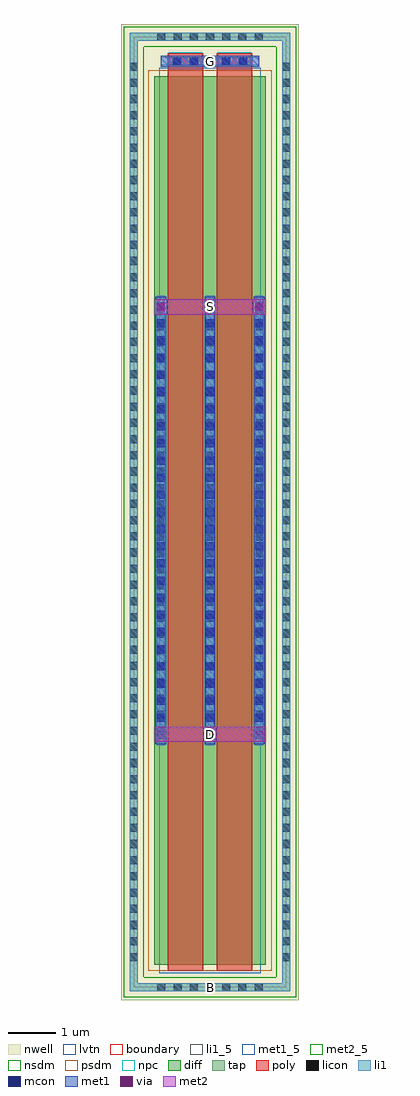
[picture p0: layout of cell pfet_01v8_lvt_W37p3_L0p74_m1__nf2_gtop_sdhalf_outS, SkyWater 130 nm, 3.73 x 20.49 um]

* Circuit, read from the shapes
.subckt pfet_01v8_lvt_W37p3_L0p74_m1__nf2_gtop_sdhalf_outS B D G S
XM1 D G S B sky130_fd_pr__pfet_01v8_lvt w=18.65 l=0.74 m=2
.ends

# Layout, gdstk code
import gdstk
lib = gdstk.Library(unit=1e-6, precision=1e-09)
def R(c, l, rs):  # rectangles x0, y0, x1, y1
    for r in rs: c.add(gdstk.rectangle(r[:2], r[2:], *l))
def A(c, l, x, y, w, h, nx, ny, dx, dy):  # array of equal rectangles
    R(c, l, [(x+i*dx, y+j*dy, x+i*dx+w, y+j*dy+h) for i in range(nx) for j in range(ny)])
nwell = (64, 20)
diff = (65, 20)
tap = (65, 44)
poly = (66, 20)
licon = (66, 44)
li1_5 = (67, 5)
li1 = (67, 20)
mcon = (67, 44)
met1_5 = (68, 5)
met1 = (68, 20)
via = (68, 44)
met2_5 = (69, 5)
met2 = (69, 20)
nsdm = (93, 44)
psdm = (94, 20)
npc = (95, 20)
lvtn = (125, 44)
boundary = (235, 4)

sky130_fd_pr__pfet_01v8_ = lib.new_cell('sky130_fd_pr__pfet_01v8_lvt_M7KZMB')
R(sky130_fd_pr__pfet_01v8_, nwell, [(-1.865,-10.245,1.865,10.245)])
R(sky130_fd_pr__pfet_01v8_, diff, [(-1.175,-9.505,1.175,9.145)])
R(sky130_fd_pr__pfet_01v8_, tap, [(-1.685,-10.065,1.685,-9.895), (-1.685,-9.895,-1.515,9.895), (1.515,-9.895,1.685,9.895), (-1.685,9.895,1.685,10.065)])
R(sky130_fd_pr__pfet_01v8_, poly, [(-0.885,-9.635,-0.145,9.63), (0.145,-9.635,0.885,9.63)])
A(sky130_fd_pr__pfet_01v8_, licon, -1.105, -10.065, 0.17, 0.17, 7, 2, 0.34, 19.96)
A(sky130_fd_pr__pfet_01v8_, licon, -1.685, -9.435, 0.17, 0.17, 1, 56, 0, 0.34)
A(sky130_fd_pr__pfet_01v8_, licon, 1.515, -9.435, 0.17, 0.17, 1, 56, 0, 0.34)
A(sky130_fd_pr__pfet_01v8_, licon, -1.115, -4.685, 0.17, 0.17, 3, 27, 1.03, 0.34)
R(sky130_fd_pr__pfet_01v8_, licon, [(-0.77,9.38,-0.6,9.55), (-0.43,9.38,-0.26,9.55), (0.26,9.38,0.43,9.55), (0.6,9.38,0.77,9.55)])
A(sky130_fd_pr__pfet_01v8_, li1, -1.115, -4.895, 0.17, 9.43, 3, 1, 1.03, 0)
R(sky130_fd_pr__pfet_01v8_, li1, [(-1.685,-10.065,1.685,-9.895), (-1.685,-9.895,-1.515,9.895), (1.515,-9.895,1.685,9.895), (-1.03,9.38,1.03,9.55), (-1.685,9.895,1.685,10.065)])
A(sky130_fd_pr__pfet_01v8_, mcon, -1.115, -4.765, 0.17, 0.17, 3, 26, 1.03, 0.36)
R(sky130_fd_pr__pfet_01v8_, mcon, [(-0.78,9.38,-0.61,9.55), (-0.42,9.38,-0.25,9.55), (0.25,9.38,0.42,9.55), (0.61,9.38,0.78,9.55)])
A(sky130_fd_pr__pfet_01v8_, met1, -1.145, -4.875, 0.23, 9.39, 3, 1, 1.03, 0)
R(sky130_fd_pr__pfet_01v8_, met1, [(-0.865,9.35,-0.165,9.38), (0.165,9.35,0.865,9.38), (-1.03,9.38,1.03,9.55), (-0.865,9.55,-0.165,9.58), (0.165,9.55,0.865,9.58)])
R(sky130_fd_pr__pfet_01v8_, nsdm, [(-1.81,-10.19,1.81,-9.77), (-1.81,-9.77,-1.39,9.77), (1.39,-9.77,1.81,9.77), (-1.81,9.77,1.81,10.19)])
R(sky130_fd_pr__pfet_01v8_, psdm, [(-1.3,-9.63,1.3,9.27)])
R(sky130_fd_pr__pfet_01v8_, npc, [(-0.87,9.28,-0.16,9.65), (0.16,9.28,0.87,9.65)])
R(sky130_fd_pr__pfet_01v8_, lvtn, [(-1.065,-9.685,1.065,9.325)])
R(sky130_fd_pr__pfet_01v8_, boundary, [(-1.6,-9.98,1.6,9.98)])
sky130_fd_pr__pfet_01v8_.add(gdstk.Label('B', (0,-9.98), layer=67, texttype=5))
sky130_fd_pr__pfet_01v8_.add(gdstk.Label('D0', (-1.03,-0.18), layer=67, texttype=5))
sky130_fd_pr__pfet_01v8_.add(gdstk.Label('G', (0.515,9.465), layer=67, texttype=5))
sky130_fd_pr__pfet_01v8_.add(gdstk.Label('G', (-0.515,9.465), layer=67, texttype=5))
sky130_fd_pr__pfet_01v8_.add(gdstk.Label('S1', (0,-0.18), layer=67, texttype=5))

pfet_01v8_lvt_w37p3_l0p7 = lib.new_cell('pfet_01v8_lvt_W37p3_L0p74_m1__nf2_gtop_sdhalf_outS')
R(pfet_01v8_lvt_w37p3_l0p7, li1_5, [(1.515,-0.085,1.685,0.085)])
R(pfet_01v8_lvt_w37p3_l0p7, li1, [(1.515,-0.085,1.685,0.085)])
R(pfet_01v8_lvt_w37p3_l0p7, met1_5, [(0.57,19.33,2.63,19.56)])
R(pfet_01v8_lvt_w37p3_l0p7, met1, [(1.47,5.155,1.73,5.475), (0.44,14.125,0.7,14.445), (2.5,14.125,2.76,14.445), (0.57,19.33,2.63,19.56)])
R(pfet_01v8_lvt_w37p3_l0p7, via, [(1.525,5.24,1.675,5.39), (0.495,14.21,0.645,14.36), (2.555,14.21,2.705,14.36)])
R(pfet_01v8_lvt_w37p3_l0p7, met2_5, [(0.435,5.155,2.765,5.475), (0.435,14.125,2.765,14.445)])
R(pfet_01v8_lvt_w37p3_l0p7, met2, [(0.435,5.155,2.765,5.475), (0.435,14.125,2.765,14.445)])
pfet_01v8_lvt_w37p3_l0p7.add(gdstk.Reference(sky130_fd_pr__pfet_01v8_, (1.6,9.98)))
pfet_01v8_lvt_w37p3_l0p7.add(gdstk.Label('S', (1.6,14.285), layer=69, texttype=5))
pfet_01v8_lvt_w37p3_l0p7.add(gdstk.Label('D', (1.6,5.315), layer=69, texttype=5))
pfet_01v8_lvt_w37p3_l0p7.add(gdstk.Label('G', (1.6,19.445), layer=68, texttype=5))
pfet_01v8_lvt_w37p3_l0p7.add(gdstk.Label('B', (1.6,0), layer=67, texttype=5))

lib.write_gds('pfet_01v8_lvt_W37p3_L0p74_m1__nf2_gtop_sdhalf_outS.gds')
